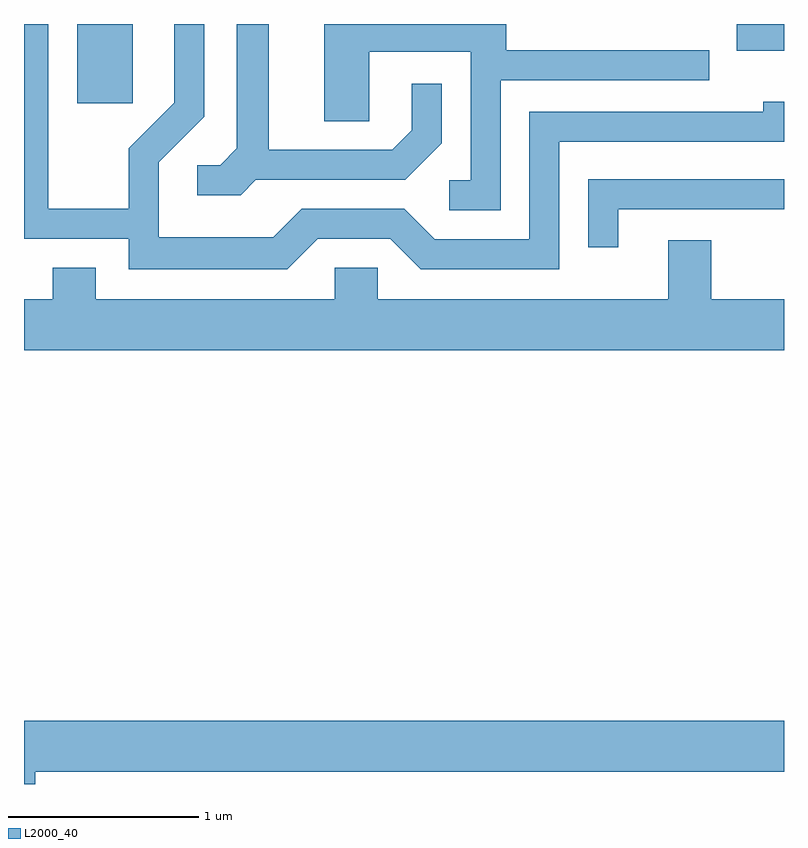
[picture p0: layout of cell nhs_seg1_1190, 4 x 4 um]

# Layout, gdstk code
import gdstk
lib = gdstk.Library(unit=1e-6, precision=1e-09)
def R(c, l, rs):  # rectangles x0, y0, x1, y1
    for r in rs: c.add(gdstk.rectangle(r[:2], r[2:], *l))
def P(c, l, *ps):  # polygons
    for p in ps: c.add(gdstk.Polygon(p, *l))
L2000_40 = (2000, 40)

nhs_seg1_1190 = lib.new_cell('nhs_seg1_1190')
R(nhs_seg1_1190, L2000_40, [(221.891,925.296,222.184,925.712), (225.361,925.571,225.611,925.712)])
P(nhs_seg1_1190, L2000_40, [(222.832,924.891),(223.617,924.891),(223.809,925.084),(223.809,925.398),(223.651,925.398),(223.651,925.152),(223.549,925.049),(222.899,925.049),(222.899,925.712),(222.731,925.712),(222.731,925.057),(222.644,924.969),(222.523,924.969),(222.523,924.811),(222.752,924.811)],
  [(223.157,924.581),(223.539,924.581),(223.699,924.421),(224.429,924.421),(224.429,925.091),(225.611,925.091),(225.611,925.304),(225.501,925.304),(225.501,925.249),(224.271,925.249),(224.271,924.579),(223.772,924.579),(223.612,924.739),(223.074,924.739),(222.924,924.589),(222.319,924.589),(222.319,924.984),(222.559,925.224),(222.559,925.712),(222.401,925.712),(222.401,925.297),(222.161,925.057),(222.161,924.739),(221.739,924.739),(221.739,925.712),(221.611,925.712),(221.611,924.581),(222.161,924.581),(222.161,924.421),(222.997,924.421)],
  [(224.119,925.416),(225.218,925.416),(225.218,925.574),(224.149,925.574),(224.149,925.712),(223.191,925.712),(223.191,925.201),(223.429,925.201),(223.429,925.566),(223.961,925.566),(223.961,924.889),(223.848,924.889),(223.848,924.731),(224.119,924.731)],
  [(224.739,924.736),(225.611,924.736),(225.611,924.894),(224.581,924.894),(224.581,924.538),(224.739,924.538)],
  [(225.611,924.264),(225.229,924.264),(225.229,924.574),(225.001,924.574),(225.001,924.264),(223.474,924.264),(223.474,924.429),(223.246,924.429),(223.246,924.264),(221.989,924.264),(221.989,924.429),(221.761,924.429),(221.761,924.264),(221.611,924.264),(221.611,923.996),(225.611,923.996)],
  [(221.669,921.776),(225.611,921.776),(225.611,922.044),(221.611,922.044),(221.611,921.712),(221.669,921.712)])

lib.write_gds('nhs_seg1_1190.gds')
